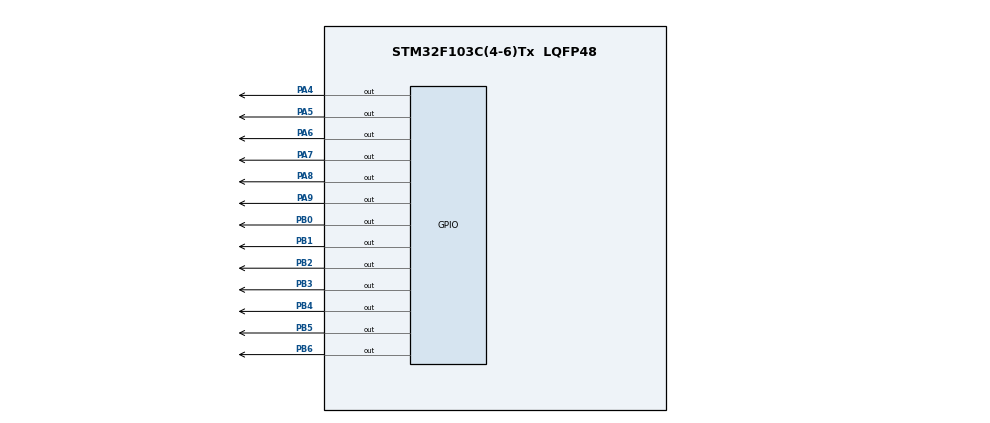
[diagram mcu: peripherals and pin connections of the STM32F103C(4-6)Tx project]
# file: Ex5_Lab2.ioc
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Mcu.Family=STM32F1
Mcu.Name=STM32F103C(4-6)Tx
Mcu.Package=LQFP48
NVIC.PriorityGroup=NVIC_PRIORITYGROUP_4
NVIC.TIM2_IRQn=true\:0\:0\:false\:false\:true\:true\:true
PA0-WKUP.Mode=SYS_WakeUp0
PA0-WKUP.Signal=SYS_WKUP
PA13.Mode=Serial_Wire
PA13.Signal=SYS_JTMS-SWDIO
PA14.Mode=Serial_Wire
PA14.Signal=SYS_JTCK-SWCLK
PA4.Signal=GPIO_Output
PA5.Signal=GPIO_Output
PA6.Signal=GPIO_Output
PA7.Signal=GPIO_Output
PA8.Signal=GPIO_Output
PA9.Signal=GPIO_Output
PB0.Signal=GPIO_Output
PB1.Signal=GPIO_Output
PB2.Signal=GPIO_Output
PB3.Signal=GPIO_Output
PB4.Signal=GPIO_Output
PB5.Signal=GPIO_Output
PB6.Signal=GPIO_Output
ProjectManager.HeapSize=0x200
ProjectManager.StackSize=0x400
ProjectManager.TargetToolchain=STM32CubeIDE
RCC.APB1Freq_Value=8000000
RCC.APB2Freq_Value=8000000
TIM2.Period=9
TIM2.Prescaler=7999
VP_TIM2_VS_ClockSourceINT.Mode=Internal
board=custom

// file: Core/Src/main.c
/* USER CODE BEGIN Header */
/**
  ******************************************************************************
  * @file           : main.c
  * @brief          : Main program body
  ******************************************************************************
  * @attention
  *
  * <h2><center>&copy; Copyright (c) 2023 STMicroelectronics.
  * All rights reserved.</center></h2>
  *
  * This software component is licensed by ST under BSD 3-Clause license,
  * the "License"; You may not use this file except in compliance with the
  * License. You may obtain a copy of the License at:
  *                        opensource.org/licenses/BSD-3-Clause
  *
  ******************************************************************************
  */
/* USER CODE END Header */
#include "main.h"
#include "software_timer.h"

TIM_HandleTypeDef htim2;

void SystemClock_Config(void);
static void MX_GPIO_Init(void);
static void MX_TIM2_Init(void);

int main(void)
{

  /* MCU Configuration--------------------------------------------------------*/

  /* Reset of all peripherals, Initializes the Flash interface and the Systick. */
  HAL_Init();

  /* Configure the system clock */
  SystemClock_Config();

  /* Initialize all configured peripherals */
  MX_GPIO_Init();
  MX_TIM2_Init();
  /* USER CODE BEGIN 2 */
  HAL_TIM_Base_Start_IT(&htim2);
  void display7SEG(int num){ // ham hien thi led 7 doan
	  char s[100] = {0xC0, 0xF9, 0xA4, 0xB0, 0X99, 0x92, 0x82, 0xF8, 0x80, 0x90};
      for(int i = 0; i < 7; ++i){
    	  HAL_GPIO_WritePin(GPIOB, GPIO_PIN_0 << i, (s[num] >> i) & 1);
      	  }
   	   }
  int hour = 15, minute = 8, second = 50; // dat thoi gian ban dau
  int led_buffer[4] = {1, 5, 0, 8};
  int counter_led = 0;
  void update7SEG(int index){
	  switch (index){
	      	case 0:
	      		// Display the first 7 SEG with led_buffer [0]
	      		display7SEG(led_buffer[0]);
	      		HAL_GPIO_WritePin(GPIOA, GPIO_PIN_6, RESET);
	      		HAL_GPIO_WritePin(GPIOA, GPIO_PIN_7, SET);
	      		HAL_GPIO_WritePin(GPIOA, GPIO_PIN_8, SET);
	      		HAL_GPIO_WritePin(GPIOA, GPIO_PIN_9, SET);
	      		break ;
	      	case 1:
	      		// Display the second 7 SEG with led_buffer [1]
	      		display7SEG(led_buffer[1]);
	      		HAL_GPIO_WritePin(GPIOA, GPIO_PIN_6, SET);
	      		HAL_GPIO_WritePin(GPIOA, GPIO_PIN_7, RESET);
	      		HAL_GPIO_WritePin(GPIOA, GPIO_PIN_8, SET);
	      		HAL_GPIO_WritePin(GPIOA, GPIO_PIN_9, SET);
	      		break ;
	      	 case 2:
	      		 // Display the third 7 SEG with led_buffer [2]
	      		 display7SEG(led_buffer[2]);
	      		 HAL_GPIO_WritePin(GPIOA, GPIO_PIN_6, SET);
	      		 HAL_GPIO_WritePin(GPIOA, GPIO_PIN_7, SET);
	      		 HAL_GPIO_WritePin(GPIOA, GPIO_PIN_8, RESET);
	      		 HAL_GPIO_WritePin(GPIOA, GPIO_PIN_9, SET);
	      		 break ;
	      	 case 3:
	      		  // Display the forth 7 SEG with led_buffer [3]
	      		  display7SEG(led_buffer[3]);
	      		  HAL_GPIO_WritePin(GPIOA, GPIO_PIN_6, SET);
	      		  HAL_GPIO_WritePin(GPIOA, GPIO_PIN_7, SET);
	      		  HAL_GPIO_WritePin(GPIOA, GPIO_PIN_8, SET);
	      		  HAL_GPIO_WritePin(GPIOA, GPIO_PIN_9, RESET);
	      		  break ;
	      	  default :
	      		  break ;
	      	 }
  }
  void updateClockBuffer(){
	  led_buffer[0] = hour / 10;
	  led_buffer[1] = hour % 10;
	  led_buffer[2] = minute / 10;
	  led_buffer[3] = minute % 10;
  }
  /* USER CODE END 2 */

  /* Infinite loop */
  /* USER CODE BEGIN WHILE */
  setTimer1(1);
  setTimer2(1);
  while (1)
  {
    /* USER CODE END WHILE */

    /* USER CODE BEGIN 3 */
	  if(timer1_flag == 1){
		  second ++;
		  if ( second >= 60) {
			  second = 0;
		  	  minute ++;
		  	  }
		  if( minute >= 60) {
		  	  minute = 0;
		  	  hour ++;
		  	  }
		  if( hour >=24){
		  	  hour = 0;
		  	  }
		  updateClockBuffer();
		  HAL_GPIO_TogglePin(GPIOA, GPIO_PIN_4);
		  setTimer1(100);
	  }
	 if(timer2_flag == 1){
		 update7SEG(counter_led);
		 counter_led++;
		 if(counter_led >= 4){
			 counter_led = 0;
		 }
		 setTimer2(25);
	 }
  }
  /* USER CODE END 3 */
}

void SystemClock_Config(void)
{
  RCC_OscInitTypeDef RCC_OscInitStruct = {0};
  RCC_ClkInitTypeDef RCC_ClkInitStruct = {0};

  /** Initializes the RCC Oscillators according to the specified parameters
  * in the RCC_OscInitTypeDef structure.
  */
  RCC_OscInitStruct.OscillatorType = RCC_OSCILLATORTYPE_HSI;
  RCC_OscInitStruct.HSIState = RCC_HSI_ON;
  RCC_OscInitStruct.HSICalibrationValue = RCC_HSICALIBRATION_DEFAULT;
  RCC_OscInitStruct.PLL.PLLState = RCC_PLL_NONE;
  if (HAL_RCC_OscConfig(&RCC_OscInitStruct) != HAL_OK)
  {
    Error_Handler();
  }
  /** Initializes the CPU, AHB and APB buses clocks
  */
  RCC_ClkInitStruct.ClockType = RCC_CLOCKTYPE_HCLK|RCC_CLOCKTYPE_SYSCLK
                              |RCC_CLOCKTYPE_PCLK1|RCC_CLOCKTYPE_PCLK2;
  RCC_ClkInitStruct.SYSCLKSource = RCC_SYSCLKSOURCE_HSI;
  RCC_ClkInitStruct.AHBCLKDivider = RCC_SYSCLK_DIV1;
  RCC_ClkInitStruct.APB1CLKDivider = RCC_HCLK_DIV1;
  RCC_ClkInitStruct.APB2CLKDivider = RCC_HCLK_DIV1;

  if (HAL_RCC_ClockConfig(&RCC_ClkInitStruct, FLASH_LATENCY_0) != HAL_OK)
  {
    Error_Handler();
  }
}

static void MX_TIM2_Init(void)
{

  TIM_ClockConfigTypeDef sClockSourceConfig = {0};
  TIM_MasterConfigTypeDef sMasterConfig = {0};

  htim2.Instance = TIM2;
  htim2.Init.Prescaler = 7999;
  htim2.Init.CounterMode = TIM_COUNTERMODE_UP;
  htim2.Init.Period = 9;
  htim2.Init.ClockDivision = TIM_CLOCKDIVISION_DIV1;
  htim2.Init.AutoReloadPreload = TIM_AUTORELOAD_PRELOAD_DISABLE;
  if (HAL_TIM_Base_Init(&htim2) != HAL_OK)
  {
    Error_Handler();
  }
  sClockSourceConfig.ClockSource = TIM_CLOCKSOURCE_INTERNAL;
  if (HAL_TIM_ConfigClockSource(&htim2, &sClockSourceConfig) != HAL_OK)
  {
    Error_Handler();
  }
  sMasterConfig.MasterOutputTrigger = TIM_TRGO_RESET;
  sMasterConfig.MasterSlaveMode = TIM_MASTERSLAVEMODE_DISABLE;
  if (HAL_TIMEx_MasterConfigSynchronization(&htim2, &sMasterConfig) != HAL_OK)
  {
    Error_Handler();
  }

}

static void MX_GPIO_Init(void)
{
  GPIO_InitTypeDef GPIO_InitStruct = {0};

  /* GPIO Ports Clock Enable */
  __HAL_RCC_GPIOA_CLK_ENABLE();
  __HAL_RCC_GPIOB_CLK_ENABLE();

  /*Configure GPIO pin Output Level */
  HAL_GPIO_WritePin(GPIOA, GPIO_PIN_4|GPIO_PIN_5|GPIO_PIN_6|GPIO_PIN_7
                          |GPIO_PIN_8|GPIO_PIN_9, GPIO_PIN_RESET);

  /*Configure GPIO pin Output Level */
  HAL_GPIO_WritePin(GPIOB, GPIO_PIN_0|GPIO_PIN_1|GPIO_PIN_2|GPIO_PIN_3
                          |GPIO_PIN_4|GPIO_PIN_5|GPIO_PIN_6, GPIO_PIN_RESET);

  /*Configure GPIO pins : PA4 PA5 PA6 PA7
                           PA8 PA9 */
  GPIO_InitStruct.Pin = GPIO_PIN_4|GPIO_PIN_5|GPIO_PIN_6|GPIO_PIN_7
                          |GPIO_PIN_8|GPIO_PIN_9;
  GPIO_InitStruct.Mode = GPIO_MODE_OUTPUT_PP;
  GPIO_InitStruct.Pull = GPIO_NOPULL;
  GPIO_InitStruct.Speed = GPIO_SPEED_FREQ_LOW;
  HAL_GPIO_Init(GPIOA, &GPIO_InitStruct);

  /*Configure GPIO pins : PB0 PB1 PB2 PB3
                           PB4 PB5 PB6 */
  GPIO_InitStruct.Pin = GPIO_PIN_0|GPIO_PIN_1|GPIO_PIN_2|GPIO_PIN_3
                          |GPIO_PIN_4|GPIO_PIN_5|GPIO_PIN_6;
  GPIO_InitStruct.Mode = GPIO_MODE_OUTPUT_PP;
  GPIO_InitStruct.Pull = GPIO_NOPULL;
  GPIO_InitStruct.Speed = GPIO_SPEED_FREQ_LOW;
  HAL_GPIO_Init(GPIOB, &GPIO_InitStruct);

}

/* USER CODE BEGIN 4 */
void HAL_TIM_PeriodElapsedCallback(TIM_HandleTypeDef *htim){
	timerRun();
}
/* USER CODE END 4 */

void Error_Handler(void)
{
  __disable_irq();
  while (1)
  {
  }
}

/************************ (C) COPYRIGHT STMicroelectronics *****END OF FILE****/
